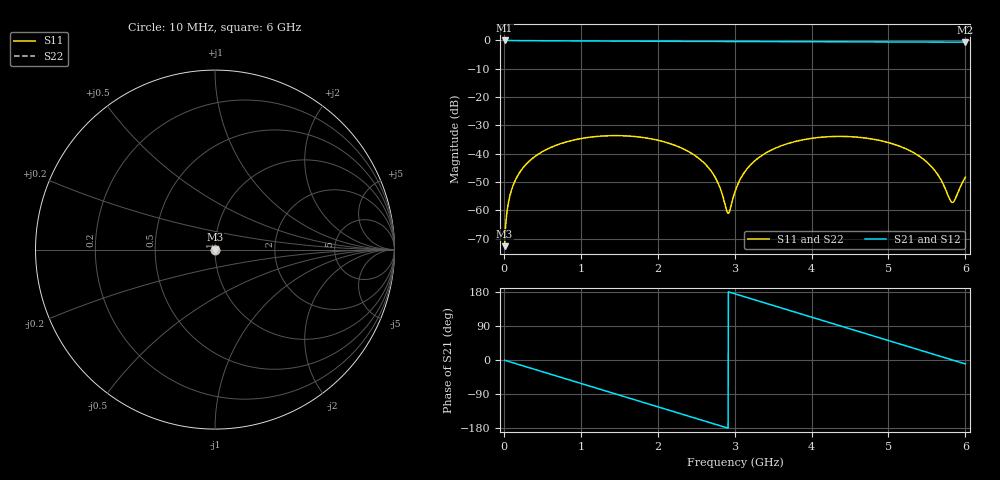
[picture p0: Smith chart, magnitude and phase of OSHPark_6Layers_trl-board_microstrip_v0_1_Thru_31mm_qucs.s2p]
# HZ S RI R 50
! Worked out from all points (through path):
!   1601 points, 10 MHz to 6 GHz, reference 50 ohm
!   highest |S21| = -0.02 dB at 10 MHz (marker M1); lowest = -0.6 dB at 6 GHz (marker M2)
!   group delay of S21, straight-line fit = 171 ps
!   lowest |S11| = -72.6 dB at 10 MHz (marker M3), VSWR 1.00, Z = 50 + j0.0231 ohm
!   |S11| at or under -10 dB: start of sweep to end of sweep
!   |S22| runs from -72.6 to -33.6 dB; largest |S21 - S12| = 0
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1e7  4.05e-05 0.000231  0.9982 -0.0108  0.9982 -0.0108  4.05e-05 0.000231
5.118125e7  0.000153 0.00117  0.9944 -0.0549  0.9944 -0.0549  0.000153 0.00117
8.861875e7  0.000312 0.00202  0.9899 -0.0948  0.9899 -0.0948  0.000312 0.00202
2.458562e8  0.00165 0.00533  0.9558 -0.2592  0.9558 -0.2592  0.00165 0.00533
5.491e8  0.00681 0.00966  0.8174 -0.549  0.8174 -0.549  0.00681 0.00966
1.009581e9  0.0166 0.00847  0.4546 -0.8659  0.4546 -0.8659  0.0166 0.00847
1.5075e9  0.0208 -0.00107  -0.0512 -0.9705  -0.0512 -0.9705  0.0208 -0.00107
2.009162e9  0.0145 -0.0093  -0.54 -0.8015  -0.54 -0.8015  0.0145 -0.0093
2.361075e9  0.00711 -0.00927  -0.7954 -0.5428  -0.7954 -0.5428  0.00711 -0.00927
2.61565e9  0.00285 -0.00599  -0.9103 -0.3062  -0.9103 -0.3062  0.00285 -0.00599
2.772888e9  0.00133 -0.00301  -0.9475 -0.1481  -0.9475 -0.1481  0.00133 -0.00301
2.911406e9  0.00089 -0.000115  -0.9576 -0.00558  -0.9576 -0.00558  0.00089 -0.000115
3.005e9  0.00108 0.00186  -0.9525 0.0908  -0.9525 0.0908  0.00108 0.00186
3.136031e9  0.00201 0.00446  -0.929 0.2236  -0.929 0.2236  0.00201 0.00446
3.338194e9  0.00472 0.00769  -0.857 0.4183  -0.857 0.4183  0.00472 0.00769
4.004581e9  0.0174 0.00688  -0.3678 0.8733  -0.3678 0.8733  0.0174 0.00688
4.498756e9  0.0199 -0.00252  0.1259 0.935  0.1259 0.935  0.0199 -0.00252
5.004162e9  0.0127 -0.00922  0.5896 0.7312  0.5896 0.7312  0.0127 -0.00922
5.513312e9  0.00346 -0.00593  0.8807 0.3148  0.8807 0.3148  0.00346 -0.00593
5.655575e9  0.00202 -0.00346  0.9174 0.1763  0.9174 0.1763  0.00202 -0.00346
5.824044e9  0.00139 -0.000151  0.9328 0.0076  0.9328 0.0076  0.00139 -0.000151
6e9  0.00202 0.00329  0.9162 -0.1683  0.9162 -0.1683  0.00202 0.00329
